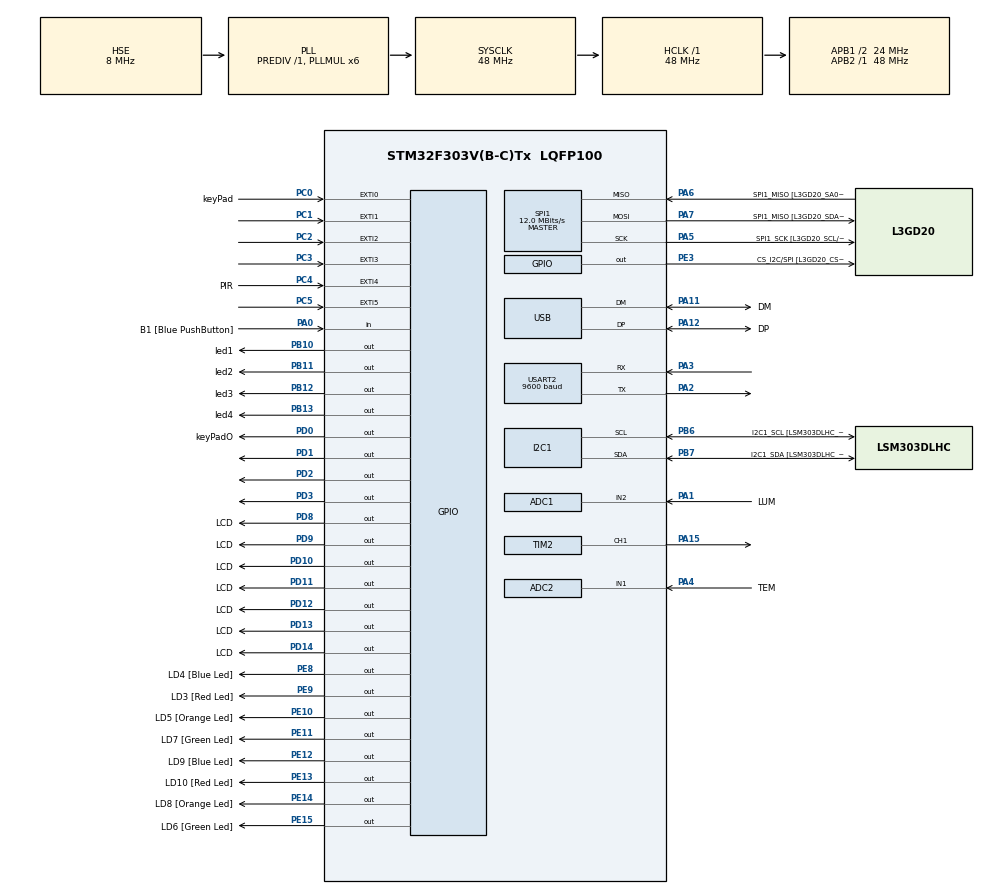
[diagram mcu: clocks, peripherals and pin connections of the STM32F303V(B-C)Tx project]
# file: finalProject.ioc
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ADC1.Channel-0\#ChannelRegularConversion=ADC_CHANNEL_2
ADC1.NbrOfConversionFlag=1
ADC1.Offset-0\#ChannelRegularConversion=0
ADC1.OffsetNumber-0\#ChannelRegularConversion=ADC_OFFSET_NONE
ADC1.Rank-0\#ChannelRegularConversion=1
ADC1.SamplingTime-0\#ChannelRegularConversion=ADC_SAMPLETIME_601CYCLES_5
ADC1.SamplingTimeOPAMP-0\#ChannelRegularConversion=ADC_SAMPLETIME_19CYCLES_5
ADC1.master=1
ADC2.Channel-0\#ChannelRegularConversion=ADC_CHANNEL_1
ADC2.NbrOfConversionFlag=1
ADC2.Offset-0\#ChannelRegularConversion=0
ADC2.OffsetNumber-0\#ChannelRegularConversion=ADC_OFFSET_NONE
ADC2.Rank-0\#ChannelRegularConversion=1
ADC2.SamplingTime-0\#ChannelRegularConversion=ADC_SAMPLETIME_601CYCLES_5
ADC2.SamplingTimeOPAMP-0\#ChannelRegularConversion=ADC_SAMPLETIME_19CYCLES_5
I2C1.Timing-I2C=0x2000090E
Mcu.Family=STM32F3
Mcu.Name=STM32F303V(B-C)Tx
Mcu.Package=LQFP100
NVIC.ADC1_2_IRQn=true\:0\:0\:false\:false\:true\:true\:true\:true
NVIC.EXTI0_IRQn=true\:1\:0\:true\:false\:true\:true\:true\:true
NVIC.EXTI1_IRQn=true\:1\:0\:true\:false\:true\:true\:true\:true
NVIC.EXTI2_TSC_IRQn=true\:1\:0\:true\:false\:true\:true\:true\:true
NVIC.EXTI3_IRQn=true\:1\:0\:true\:false\:true\:true\:true\:true
NVIC.EXTI4_IRQn=true\:1\:0\:true\:false\:true\:true\:true\:true
NVIC.EXTI9_5_IRQn=true\:1\:0\:true\:false\:true\:true\:true\:true
NVIC.PriorityGroup=NVIC_PRIORITYGROUP_1
NVIC.TIM2_IRQn=true\:0\:0\:false\:false\:true\:true\:true\:true
NVIC.TIM3_IRQn=true\:0\:0\:true\:false\:true\:true\:true\:true
NVIC.TIM6_DAC_IRQn=true\:1\:0\:true\:false\:true\:true\:true\:true
NVIC.USART2_IRQn=true\:0\:0\:false\:false\:true\:true\:true\:true
PA0.GPIO_Label=B1 [Blue PushButton]
PA0.Signal=GPIO_Input
PA1.GPIO_Label=LUM
PA1.Mode=IN2-Single-Ended
PA1.Signal=ADC1_IN2
PA11.GPIO_Label=DM
PA11.Mode=Device
PA11.Signal=USB_DM
PA12.GPIO_Label=DP
PA12.Mode=Device
PA12.Signal=USB_DP
PA13.GPIO_Label=SWDIO
PA13.Mode=Serial_Wire
PA13.Signal=SYS_JTMS-SWDIO
PA14.GPIO_Label=SWCLK
PA14.Mode=Serial_Wire
PA14.Signal=SYS_JTCK-SWCLK
PA15.Signal=S_TIM2_CH1_ETR
PA2.Mode=Asynchronous
PA2.Signal=USART2_TX
PA3.Mode=Asynchronous
PA3.Signal=USART2_RX
PA4.GPIO_Label=TEM
PA4.Mode=IN1-Single-Ended
PA4.Signal=ADC2_IN1
PA5.GPIO_Label=SPI1_SCK [L3GD20_SCL/SPC]
PA5.Mode=Full_Duplex_Master
PA5.Signal=SPI1_SCK
PA6.GPIO_Label=SPI1_MISO [L3GD20_SA0/SDO]
PA6.Mode=Full_Duplex_Master
PA6.Signal=SPI1_MISO
PA7.GPIO_Label=SPI1_MISO [L3GD20_SDA/SDI/SDO]
PA7.Mode=Full_Duplex_Master
PA7.Signal=SPI1_MOSI
PB10.GPIO_Label=led1
PB10.Signal=GPIO_Output
PB11.GPIO_Label=led2
PB11.Signal=GPIO_Output
PB12.GPIO_Label=led3
PB12.Signal=GPIO_Output
PB13.GPIO_Label=led4
PB13.Signal=GPIO_Output
PB3.GPIO_Label=SWO
PB3.Signal=SYS_JTDO-TRACESWO
PB6.GPIO_Label=I2C1_SCL [LSM303DLHC_SCL]
PB6.GPIO_Pu=GPIO_PULLUP
PB6.Mode=I2C
PB6.Signal=I2C1_SCL
PB7.GPIO_Label=I2C1_SDA [LSM303DLHC_SDA]
PB7.GPIO_Pu=GPIO_PULLUP
PB7.Mode=I2C
PB7.Signal=I2C1_SDA
PC0.GPIO_Label=keyPad
PC0.GPIO_PuPd=GPIO_PULLDOWN
PC0.Signal=GPXTI0
PC1.GPIO_PuPd=GPIO_PULLDOWN
PC1.Signal=GPXTI1
PC14-OSC32_IN.GPIO_Label=OSC32_IN
PC14-OSC32_IN.Signal=RCC_OSC32_IN
PC15-OSC32_OUT.GPIO_Label=OSC32_OUT
PC15-OSC32_OUT.Signal=RCC_OSC32_OUT
PC2.GPIO_PuPd=GPIO_PULLDOWN
PC2.Signal=GPXTI2
PC3.GPIO_PuPd=GPIO_PULLDOWN
PC3.Signal=GPXTI3
PC4.GPIO_Label=PIR
PC4.Signal=GPXTI4
PC5.GPIO_PuPd=GPIO_PULLDOWN
PC5.Signal=GPXTI5
PD0.GPIO_Label=keyPadO
PD0.Signal=GPIO_Output
PD1.Signal=GPIO_Output
PD10.GPIO_Label=LCD
PD10.Signal=GPIO_Output
PD11.GPIO_Label=LCD
PD11.Signal=GPIO_Output
PD12.GPIO_Label=LCD
PD12.Signal=GPIO_Output
PD13.GPIO_Label=LCD
PD13.Signal=GPIO_Output
PD14.GPIO_Label=LCD
PD14.Signal=GPIO_Output
PD2.Signal=GPIO_Output
PD3.Signal=GPIO_Output
PD8.GPIO_Label=LCD
PD8.Signal=GPIO_Output
PD9.GPIO_Label=LCD
PD9.Signal=GPIO_Output
PE10.GPIO_Label=LD5 [Orange Led]
PE10.Signal=GPIO_Output
PE11.GPIO_Label=LD7 [Green Led]
PE11.Signal=GPIO_Output
PE12.GPIO_Label=LD9 [Blue Led]
PE12.Signal=GPIO_Output
PE13.GPIO_Label=LD10 [Red Led]
PE13.Signal=GPIO_Output
PE14.GPIO_Label=LD8 [Orange Led]
PE14.Signal=GPIO_Output
PE15.GPIO_Label=LD6 [Green Led]
PE15.Signal=GPIO_Output
PE3.GPIO_Label=CS_I2C/SPI [L3GD20_CS_I2C/SPI]
PE3.Signal=GPIO_Output
PE8.GPIO_Label=LD4 [Blue Led]
PE8.Signal=GPIO_Output
PE9.GPIO_Label=LD3 [Red Led]
PE9.Signal=GPIO_Output
PF0-OSC_IN.GPIO_Label=OSC_IN
PF0-OSC_IN.Mode=HSE-External-Clock-Source
PF0-OSC_IN.Signal=RCC_OSC_IN
PF1-OSC_OUT.GPIO_Label=OSC_OUT
PF1-OSC_OUT.Signal=RCC_OSC_OUT
ProjectManager.HeapSize=0x200
ProjectManager.StackSize=0x400
ProjectManager.TargetToolchain=STM32CubeIDE
RCC.AHBFreq_Value=48000000
RCC.APB1CLKDivider=RCC_HCLK_DIV2
RCC.APB1Freq_Value=24000000
RCC.APB1TimFreq_Value=48000000
RCC.APB2Freq_Value=48000000
RCC.APB2TimFreq_Value=48000000
RCC.CortexFreq_Value=48000000
RCC.HCLKFreq_Value=48000000
RCC.HSE_VALUE=8000000
RCC.HSI_VALUE=8000000
RCC.LSE_VALUE=32768
RCC.PLLMUL=RCC_PLL_MUL6
RCC.SYSCLKFreq_VALUE=48000000
RCC.SYSCLKSourceVirtual=RCC_SYSCLKSOURCE_PLLCLK
RCC.USBFreq_Value=48000000
SH.S_TIM2_CH1_ETR.0=TIM2_CH1,PWM Generation1 CH1
SPI1.BaudRatePrescaler=SPI_BAUDRATEPRESCALER_4
SPI1.BaudRatePrescaler-Full_Duplex_Master=SPI_BAUDRATEPRESCALER_2
SPI1.CalculateBaudRate=12.0 MBits/s
SPI1.CalculateBaudRate-Full_Duplex_Master=24.0 MBits/s
SPI1.Direction=SPI_DIRECTION_2LINES
SPI1.Mode=SPI_MODE_MASTER
SPI1.Mode-Full_Duplex_Master=SPI_MODE_MASTER
SPI1.VirtualType=VM_MASTER
TIM2.Channel-PWM\ Generation1\ CH1=TIM_CHANNEL_1
TIM3.Period=100
TIM3.Prescaler=4799
TIM6.Period=100
TIM6.Prescaler=4799
USART2.BaudRate=9600
USART2.VirtualMode-Asynchronous=VM_ASYNC
VP_TIM2_VS_ClockSourceINT.Mode=Internal
VP_TIM3_VS_ClockSourceINT.Mode=Internal
VP_TIM6_VS_ClockSourceINT.Mode=Enable_Timer
board=STM32F3DISCOVERY

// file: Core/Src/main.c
/* USER CODE BEGIN Header */
/**
  ******************************************************************************
  * @file           : main.c
  * @brief          : Main program body
  ******************************************************************************
  * @attention
  *
  * Copyright (c) 2023 STMicroelectronics.
  * All rights reserved.
  *
  * This software is licensed under terms that can be found in the LICENSE file
  * in the root directory of this software component.
  * If no LICENSE file comes with this software, it is provided AS-IS.
  *
  ******************************************************************************
  */
/* USER CODE END Header */
#include "main.h"

/* USER CODE BEGIN Includes */
#include "LiquidCrystal.h"

/* USER CODE END Includes */

ADC_HandleTypeDef hadc1;
ADC_HandleTypeDef hadc2;

I2C_HandleTypeDef hi2c1;

SPI_HandleTypeDef hspi1;

TIM_HandleTypeDef htim2;
TIM_HandleTypeDef htim3;
TIM_HandleTypeDef htim6;

UART_HandleTypeDef huart2;

PCD_HandleTypeDef hpcd_USB_FS;

void SystemClock_Config(void);
static void MX_GPIO_Init(void);
static void MX_I2C1_Init(void);
static void MX_SPI1_Init(void);
static void MX_TIM2_Init(void);
static void MX_TIM3_Init(void);
static void MX_USART2_UART_Init(void);
static void MX_USB_PCD_Init(void);
static void MX_ADC1_Init(void);
static void MX_ADC2_Init(void);
static void MX_TIM6_Init(void);

/* USER CODE BEGIN 0 */
TIM_HandleTypeDef *buzzerPwmTimer;
uint32_t buzzerPwmChannel;
TIM_HandleTypeDef htim2;
void buzzerInit() {
    buzzerPwmTimer = &htim2;
    buzzerPwmChannel = TIM_CHANNEL_1;
    HAL_TIM_PWM_Start(buzzerPwmTimer, buzzerPwmChannel);
}
/* USER CODE END 0 */

int main(void)
{

  /* MCU Configuration--------------------------------------------------------*/

  /* Reset of all peripherals, Initializes the Flash interface and the Systick. */
  HAL_Init();

  /* Configure the system clock */
  SystemClock_Config();

  /* Initialize all configured peripherals */
  MX_GPIO_Init();
  MX_I2C1_Init();
  MX_SPI1_Init();
  MX_TIM2_Init();
  MX_TIM3_Init();
  MX_USART2_UART_Init();
  MX_USB_PCD_Init();
  MX_ADC1_Init();
  MX_ADC2_Init();
  MX_TIM6_Init();
  /* USER CODE BEGIN 2 */
	buzzerInit();
    HAL_ADC_Start_IT(&hadc1);//light
    HAL_ADC_Start_IT(&hadc2);
	HAL_GPIO_WritePin(GPIOD, GPIO_PIN_0, 1);
	HAL_GPIO_WritePin(GPIOD, GPIO_PIN_1, 1);
	HAL_GPIO_WritePin(GPIOD, GPIO_PIN_2, 1);
	HAL_GPIO_WritePin(GPIOD, GPIO_PIN_3, 1);
	LiquidCrystal(GPIOD, GPIO_PIN_8, GPIO_PIN_9, GPIO_PIN_10, GPIO_PIN_11, GPIO_PIN_12, GPIO_PIN_13, GPIO_PIN_14);
    begin(20,4);
	HAL_TIM_Base_Start_IT(&htim6);

    HAL_TIM_Base_Start_IT(&htim3);
    HAL_TIM_Base_Start_IT(&htim2);

//    setCursor(0,0);
//    print(">> ControlPanel");
  /* USER CODE END 2 */

  /* Infinite loop */
  while (1)
  {

  }
}

void SystemClock_Config(void)
{
  RCC_OscInitTypeDef RCC_OscInitStruct = {0};
  RCC_ClkInitTypeDef RCC_ClkInitStruct = {0};
  RCC_PeriphCLKInitTypeDef PeriphClkInit = {0};

  /** Initializes the RCC Oscillators according to the specified parameters
  * in the RCC_OscInitTypeDef structure.
  */
  RCC_OscInitStruct.OscillatorType = RCC_OSCILLATORTYPE_HSI|RCC_OSCILLATORTYPE_HSE;
  RCC_OscInitStruct.HSEState = RCC_HSE_BYPASS;
  RCC_OscInitStruct.HSEPredivValue = RCC_HSE_PREDIV_DIV1;
  RCC_OscInitStruct.HSIState = RCC_HSI_ON;
  RCC_OscInitStruct.HSICalibrationValue = RCC_HSICALIBRATION_DEFAULT;
  RCC_OscInitStruct.PLL.PLLState = RCC_PLL_ON;
  RCC_OscInitStruct.PLL.PLLSource = RCC_PLLSOURCE_HSE;
  RCC_OscInitStruct.PLL.PLLMUL = RCC_PLL_MUL6;
  if (HAL_RCC_OscConfig(&RCC_OscInitStruct) != HAL_OK)
  {
    Error_Handler();
  }

  /** Initializes the CPU, AHB and APB buses clocks
  */
  RCC_ClkInitStruct.ClockType = RCC_CLOCKTYPE_HCLK|RCC_CLOCKTYPE_SYSCLK
                              |RCC_CLOCKTYPE_PCLK1|RCC_CLOCKTYPE_PCLK2;
  RCC_ClkInitStruct.SYSCLKSource = RCC_SYSCLKSOURCE_PLLCLK;
  RCC_ClkInitStruct.AHBCLKDivider = RCC_SYSCLK_DIV1;
  RCC_ClkInitStruct.APB1CLKDivider = RCC_HCLK_DIV2;
  RCC_ClkInitStruct.APB2CLKDivider = RCC_HCLK_DIV1;

  if (HAL_RCC_ClockConfig(&RCC_ClkInitStruct, FLASH_LATENCY_1) != HAL_OK)
  {
    Error_Handler();
  }
  PeriphClkInit.PeriphClockSelection = RCC_PERIPHCLK_USB|RCC_PERIPHCLK_USART2
                              |RCC_PERIPHCLK_I2C1|RCC_PERIPHCLK_ADC12;
  PeriphClkInit.Usart2ClockSelection = RCC_USART2CLKSOURCE_PCLK1;
  PeriphClkInit.Adc12ClockSelection = RCC_ADC12PLLCLK_DIV1;
  PeriphClkInit.I2c1ClockSelection = RCC_I2C1CLKSOURCE_HSI;
  PeriphClkInit.USBClockSelection = RCC_USBCLKSOURCE_PLL;
  if (HAL_RCCEx_PeriphCLKConfig(&PeriphClkInit) != HAL_OK)
  {
    Error_Handler();
  }
}

static void MX_ADC1_Init(void)
{

  ADC_MultiModeTypeDef multimode = {0};
  ADC_ChannelConfTypeDef sConfig = {0};

  /** Common config
  */
  hadc1.Instance = ADC1;
  hadc1.Init.ClockPrescaler = ADC_CLOCK_ASYNC_DIV1;
  hadc1.Init.Resolution = ADC_RESOLUTION_12B;
  hadc1.Init.ScanConvMode = ADC_SCAN_DISABLE;
  hadc1.Init.ContinuousConvMode = DISABLE;
  hadc1.Init.DiscontinuousConvMode = DISABLE;
  hadc1.Init.ExternalTrigConvEdge = ADC_EXTERNALTRIGCONVEDGE_NONE;
  hadc1.Init.ExternalTrigConv = ADC_SOFTWARE_START;
  hadc1.Init.DataAlign = ADC_DATAALIGN_RIGHT;
  hadc1.Init.NbrOfConversion = 1;
  hadc1.Init.DMAContinuousRequests = DISABLE;
  hadc1.Init.EOCSelection = ADC_EOC_SINGLE_CONV;
  hadc1.Init.LowPowerAutoWait = DISABLE;
  hadc1.Init.Overrun = ADC_OVR_DATA_OVERWRITTEN;
  if (HAL_ADC_Init(&hadc1) != HAL_OK)
  {
    Error_Handler();
  }

  /** Configure the ADC multi-mode
  */
  multimode.Mode = ADC_MODE_INDEPENDENT;
  if (HAL_ADCEx_MultiModeConfigChannel(&hadc1, &multimode) != HAL_OK)
  {
    Error_Handler();
  }

  /** Configure Regular Channel
  */
  sConfig.Channel = ADC_CHANNEL_2;
  sConfig.Rank = ADC_REGULAR_RANK_1;
  sConfig.SingleDiff = ADC_SINGLE_ENDED;
  sConfig.SamplingTime = ADC_SAMPLETIME_601CYCLES_5;
  sConfig.OffsetNumber = ADC_OFFSET_NONE;
  sConfig.Offset = 0;
  if (HAL_ADC_ConfigChannel(&hadc1, &sConfig) != HAL_OK)
  {
    Error_Handler();
  }

}

static void MX_ADC2_Init(void)
{

  ADC_ChannelConfTypeDef sConfig = {0};

  /** Common config
  */
  hadc2.Instance = ADC2;
  hadc2.Init.ClockPrescaler = ADC_CLOCK_ASYNC_DIV1;
  hadc2.Init.Resolution = ADC_RESOLUTION_12B;
  hadc2.Init.ScanConvMode = ADC_SCAN_DISABLE;
  hadc2.Init.ContinuousConvMode = DISABLE;
  hadc2.Init.DiscontinuousConvMode = DISABLE;
  hadc2.Init.ExternalTrigConvEdge = ADC_EXTERNALTRIGCONVEDGE_NONE;
  hadc2.Init.ExternalTrigConv = ADC_SOFTWARE_START;
  hadc2.Init.DataAlign = ADC_DATAALIGN_RIGHT;
  hadc2.Init.NbrOfConversion = 1;
  hadc2.Init.DMAContinuousRequests = DISABLE;
  hadc2.Init.EOCSelection = ADC_EOC_SINGLE_CONV;
  hadc2.Init.LowPowerAutoWait = DISABLE;
  hadc2.Init.Overrun = ADC_OVR_DATA_OVERWRITTEN;
  if (HAL_ADC_Init(&hadc2) != HAL_OK)
  {
    Error_Handler();
  }

  /** Configure Regular Channel
  */
  sConfig.Channel = ADC_CHANNEL_1;
  sConfig.Rank = ADC_REGULAR_RANK_1;
  sConfig.SingleDiff = ADC_SINGLE_ENDED;
  sConfig.SamplingTime = ADC_SAMPLETIME_601CYCLES_5;
  sConfig.OffsetNumber = ADC_OFFSET_NONE;
  sConfig.Offset = 0;
  if (HAL_ADC_ConfigChannel(&hadc2, &sConfig) != HAL_OK)
  {
    Error_Handler();
  }

}

static void MX_I2C1_Init(void)
{

  hi2c1.Instance = I2C1;
  hi2c1.Init.Timing = 0x2000090E;
  hi2c1.Init.OwnAddress1 = 0;
  hi2c1.Init.AddressingMode = I2C_ADDRESSINGMODE_7BIT;
  hi2c1.Init.DualAddressMode = I2C_DUALADDRESS_DISABLE;
  hi2c1.Init.OwnAddress2 = 0;
  hi2c1.Init.OwnAddress2Masks = I2C_OA2_NOMASK;
  hi2c1.Init.GeneralCallMode = I2C_GENERALCALL_DISABLE;
  hi2c1.Init.NoStretchMode = I2C_NOSTRETCH_DISABLE;
  if (HAL_I2C_Init(&hi2c1) != HAL_OK)
  {
    Error_Handler();
  }

  /** Configure Analogue filter
  */
  if (HAL_I2CEx_ConfigAnalogFilter(&hi2c1, I2C_ANALOGFILTER_ENABLE) != HAL_OK)
  {
    Error_Handler();
  }

  /** Configure Digital filter
  */
  if (HAL_I2CEx_ConfigDigitalFilter(&hi2c1, 0) != HAL_OK)
  {
    Error_Handler();
  }

}

static void MX_SPI1_Init(void)
{

  /* SPI1 parameter configuration*/
  hspi1.Instance = SPI1;
  hspi1.Init.Mode = SPI_MODE_MASTER;
  hspi1.Init.Direction = SPI_DIRECTION_2LINES;
  hspi1.Init.DataSize = SPI_DATASIZE_4BIT;
  hspi1.Init.CLKPolarity = SPI_POLARITY_LOW;
  hspi1.Init.CLKPhase = SPI_PHASE_1EDGE;
  hspi1.Init.NSS = SPI_NSS_SOFT;
  hspi1.Init.BaudRatePrescaler = SPI_BAUDRATEPRESCALER_4;
  hspi1.Init.FirstBit = SPI_FIRSTBIT_MSB;
  hspi1.Init.TIMode = SPI_TIMODE_DISABLE;
  hspi1.Init.CRCCalculation = SPI_CRCCALCULATION_DISABLE;
  hspi1.Init.CRCPolynomial = 7;
  hspi1.Init.CRCLength = SPI_CRC_LENGTH_DATASIZE;
  hspi1.Init.NSSPMode = SPI_NSS_PULSE_ENABLE;
  if (HAL_SPI_Init(&hspi1) != HAL_OK)
  {
    Error_Handler();
  }

}

static void MX_TIM2_Init(void)
{

  TIM_ClockConfigTypeDef sClockSourceConfig = {0};
  TIM_MasterConfigTypeDef sMasterConfig = {0};
  TIM_OC_InitTypeDef sConfigOC = {0};

  htim2.Instance = TIM2;
  htim2.Init.Prescaler = 0;
  htim2.Init.CounterMode = TIM_COUNTERMODE_UP;
  htim2.Init.Period = 4294967295;
  htim2.Init.ClockDivision = TIM_CLOCKDIVISION_DIV1;
  htim2.Init.AutoReloadPreload = TIM_AUTORELOAD_PRELOAD_DISABLE;
  if (HAL_TIM_Base_Init(&htim2) != HAL_OK)
  {
    Error_Handler();
  }
  sClockSourceConfig.ClockSource = TIM_CLOCKSOURCE_INTERNAL;
  if (HAL_TIM_ConfigClockSource(&htim2, &sClockSourceConfig) != HAL_OK)
  {
    Error_Handler();
  }
  if (HAL_TIM_PWM_Init(&htim2) != HAL_OK)
  {
    Error_Handler();
  }
  sMasterConfig.MasterOutputTrigger = TIM_TRGO_RESET;
  sMasterConfig.MasterSlaveMode = TIM_MASTERSLAVEMODE_DISABLE;
  if (HAL_TIMEx_MasterConfigSynchronization(&htim2, &sMasterConfig) != HAL_OK)
  {
    Error_Handler();
  }
  sConfigOC.OCMode = TIM_OCMODE_PWM1;
  sConfigOC.Pulse = 0;
  sConfigOC.OCPolarity = TIM_OCPOLARITY_HIGH;
  sConfigOC.OCFastMode = TIM_OCFAST_DISABLE;
  if (HAL_TIM_PWM_ConfigChannel(&htim2, &sConfigOC, TIM_CHANNEL_1) != HAL_OK)
  {
    Error_Handler();
  }
  HAL_TIM_MspPostInit(&htim2);

}

static void MX_TIM3_Init(void)
{

  TIM_ClockConfigTypeDef sClockSourceConfig = {0};
  TIM_MasterConfigTypeDef sMasterConfig = {0};

  htim3.Instance = TIM3;
  htim3.Init.Prescaler = 4799;
  htim3.Init.CounterMode = TIM_COUNTERMODE_UP;
  htim3.Init.Period = 100;
  htim3.Init.ClockDivision = TIM_CLOCKDIVISION_DIV1;
  htim3.Init.AutoReloadPreload = TIM_AUTORELOAD_PRELOAD_DISABLE;
  if (HAL_TIM_Base_Init(&htim3) != HAL_OK)
  {
    Error_Handler();
  }
  sClockSourceConfig.ClockSource = TIM_CLOCKSOURCE_INTERNAL;
  if (HAL_TIM_ConfigClockSource(&htim3, &sClockSourceConfig) != HAL_OK)
  {
    Error_Handler();
  }
  sMasterConfig.MasterOutputTrigger = TIM_TRGO_RESET;
  sMasterConfig.MasterSlaveMode = TIM_MASTERSLAVEMODE_DISABLE;
  if (HAL_TIMEx_MasterConfigSynchronization(&htim3, &sMasterConfig) != HAL_OK)
  {
    Error_Handler();
  }

}

static void MX_TIM6_Init(void)
{

  TIM_MasterConfigTypeDef sMasterConfig = {0};

  htim6.Instance = TIM6;
  htim6.Init.Prescaler = 4799;
  htim6.Init.CounterMode = TIM_COUNTERMODE_UP;
  htim6.Init.Period = 100;
  htim6.Init.AutoReloadPreload = TIM_AUTORELOAD_PRELOAD_DISABLE;
  if (HAL_TIM_Base_Init(&htim6) != HAL_OK)
  {
    Error_Handler();
  }
  sMasterConfig.MasterOutputTrigger = TIM_TRGO_RESET;
  sMasterConfig.MasterSlaveMode = TIM_MASTERSLAVEMODE_DISABLE;
  if (HAL_TIMEx_MasterConfigSynchronization(&htim6, &sMasterConfig) != HAL_OK)
  {
    Error_Handler();
  }

}

static void MX_USART2_UART_Init(void)
{

  huart2.Instance = USART2;
  huart2.Init.BaudRate = 9600;
  huart2.Init.WordLength = UART_WORDLENGTH_8B;
  huart2.Init.StopBits = UART_STOPBITS_1;
  huart2.Init.Parity = UART_PARITY_NONE;
  huart2.Init.Mode = UART_MODE_TX_RX;
  huart2.Init.HwFlowCtl = UART_HWCONTROL_NONE;
  huart2.Init.OverSampling = UART_OVERSAMPLING_16;
  huart2.Init.OneBitSampling = UART_ONE_BIT_SAMPLE_DISABLE;
  huart2.AdvancedInit.AdvFeatureInit = UART_ADVFEATURE_NO_INIT;
  if (HAL_UART_Init(&huart2) != HAL_OK)
  {
    Error_Handler();
  }

}

static void MX_USB_PCD_Init(void)
{

  hpcd_USB_FS.Instance = USB;
  hpcd_USB_FS.Init.dev_endpoints = 8;
  hpcd_USB_FS.Init.speed = PCD_SPEED_FULL;
  hpcd_USB_FS.Init.phy_itface = PCD_PHY_EMBEDDED;
  hpcd_USB_FS.Init.low_power_enable = DISABLE;
  hpcd_USB_FS.Init.battery_charging_enable = DISABLE;
  if (HAL_PCD_Init(&hpcd_USB_FS) != HAL_OK)
  {
    Error_Handler();
  }

}

static void MX_GPIO_Init(void)
{
  GPIO_InitTypeDef GPIO_InitStruct = {0};

  /* GPIO Ports Clock Enable */
  __HAL_RCC_GPIOE_CLK_ENABLE();
  __HAL_RCC_GPIOC_CLK_ENABLE();
  __HAL_RCC_GPIOF_CLK_ENABLE();
  __HAL_RCC_GPIOA_CLK_ENABLE();
  __HAL_RCC_GPIOB_CLK_ENABLE();
  __HAL_RCC_GPIOD_CLK_ENABLE();

  /*Configure GPIO pin Output Level */
  HAL_GPIO_WritePin(GPIOE, CS_I2C_SPI_Pin|LD4_Pin|LD3_Pin|LD5_Pin
                          |LD7_Pin|LD9_Pin|LD10_Pin|LD8_Pin
                          |LD6_Pin, GPIO_PIN_RESET);

  /*Configure GPIO pin Output Level */
  HAL_GPIO_WritePin(GPIOB, led1_Pin|led2_Pin|led3_Pin|led4_Pin, GPIO_PIN_RESET);

  /*Configure GPIO pin Output Level */
  HAL_GPIO_WritePin(GPIOD, LCD_Pin|LCDD9_Pin|LCDD10_Pin|LCDD11_Pin
                          |LCDD12_Pin|LCDD13_Pin|LCDD14_Pin|keyPadO_Pin
                          |GPIO_PIN_1|GPIO_PIN_2|GPIO_PIN_3, GPIO_PIN_RESET);

  /*Configure GPIO pins : CS_I2C_SPI_Pin LD4_Pin LD3_Pin LD5_Pin
                           LD7_Pin LD9_Pin LD10_Pin LD8_Pin
                           LD6_Pin */
  GPIO_InitStruct.Pin = CS_I2C_SPI_Pin|LD4_Pin|LD3_Pin|LD5_Pin
                          |LD7_Pin|LD9_Pin|LD10_Pin|LD8_Pin
                          |LD6_Pin;
  GPIO_InitStruct.Mode = GPIO_MODE_OUTPUT_PP;
  GPIO_InitStruct.Pull = GPIO_NOPULL;
  GPIO_InitStruct.Speed = GPIO_SPEED_FREQ_LOW;
  HAL_GPIO_Init(GPIOE, &GPIO_InitStruct);

  /*Configure GPIO pins : keyPad_Pin PC1 PC2 PC3
                           PC5 */
  GPIO_InitStruct.Pin = keyPad_Pin|GPIO_PIN_1|GPIO_PIN_2|GPIO_PIN_3
                          |GPIO_PIN_5;
  GPIO_InitStruct.Mode = GPIO_MODE_IT_RISING;
  GPIO_InitStruct.Pull = GPIO_PULLDOWN;
  HAL_GPIO_Init(GPIOC, &GPIO_InitStruct);

  /*Configure GPIO pin : B1_Pin */
  GPIO_InitStruct.Pin = B1_Pin;
  GPIO_InitStruct.Mode = GPIO_MODE_INPUT;
  GPIO_InitStruct.Pull = GPIO_NOPULL;
  HAL_GPIO_Init(B1_GPIO_Port, &GPIO_InitStruct);

  /*Configure GPIO pin : PIR_Pin */
  GPIO_InitStruct.Pin = PIR_Pin;
  GPIO_InitStruct.Mode = GPIO_MODE_IT_RISING;
  GPIO_InitStruct.Pull = GPIO_NOPULL;
  HAL_GPIO_Init(PIR_GPIO_Port, &GPIO_InitStruct);

  /*Configure GPIO pins : led1_Pin led2_Pin led3_Pin led4_Pin */
  GPIO_InitStruct.Pin = led1_Pin|led2_Pin|led3_Pin|led4_Pin;
  GPIO_InitStruct.Mode = GPIO_MODE_OUTPUT_PP;
  GPIO_InitStruct.Pull = GPIO_NOPULL;
  GPIO_InitStruct.Speed = GPIO_SPEED_FREQ_LOW;
  HAL_GPIO_Init(GPIOB, &GPIO_InitStruct);

  /*Configure GPIO pins : LCD_Pin LCDD9_Pin LCDD10_Pin LCDD11_Pin
                           LCDD12_Pin LCDD13_Pin LCDD14_Pin keyPadO_Pin
                           PD1 PD2 PD3 */
  GPIO_InitStruct.Pin = LCD_Pin|LCDD9_Pin|LCDD10_Pin|LCDD11_Pin
                          |LCDD12_Pin|LCDD13_Pin|LCDD14_Pin|keyPadO_Pin
                          |GPIO_PIN_1|GPIO_PIN_2|GPIO_PIN_3;
  GPIO_InitStruct.Mode = GPIO_MODE_OUTPUT_PP;
  GPIO_InitStruct.Pull = GPIO_NOPULL;
  GPIO_InitStruct.Speed = GPIO_SPEED_FREQ_LOW;
  HAL_GPIO_Init(GPIOD, &GPIO_InitStruct);

  /* EXTI interrupt init*/
  HAL_NVIC_SetPriority(EXTI0_IRQn, 1, 0);
  HAL_NVIC_EnableIRQ(EXTI0_IRQn);

  HAL_NVIC_SetPriority(EXTI1_IRQn, 1, 0);
  HAL_NVIC_EnableIRQ(EXTI1_IRQn);

  HAL_NVIC_SetPriority(EXTI2_TSC_IRQn, 1, 0);
  HAL_NVIC_EnableIRQ(EXTI2_TSC_IRQn);

  HAL_NVIC_SetPriority(EXTI3_IRQn, 1, 0);
  HAL_NVIC_EnableIRQ(EXTI3_IRQn);

  HAL_NVIC_SetPriority(EXTI4_IRQn, 1, 0);
  HAL_NVIC_EnableIRQ(EXTI4_IRQn);

  HAL_NVIC_SetPriority(EXTI9_5_IRQn, 1, 0);
  HAL_NVIC_EnableIRQ(EXTI9_5_IRQn);

}

void Error_Handler(void)
{
  __disable_irq();
  while (1)
  {
  }
}
